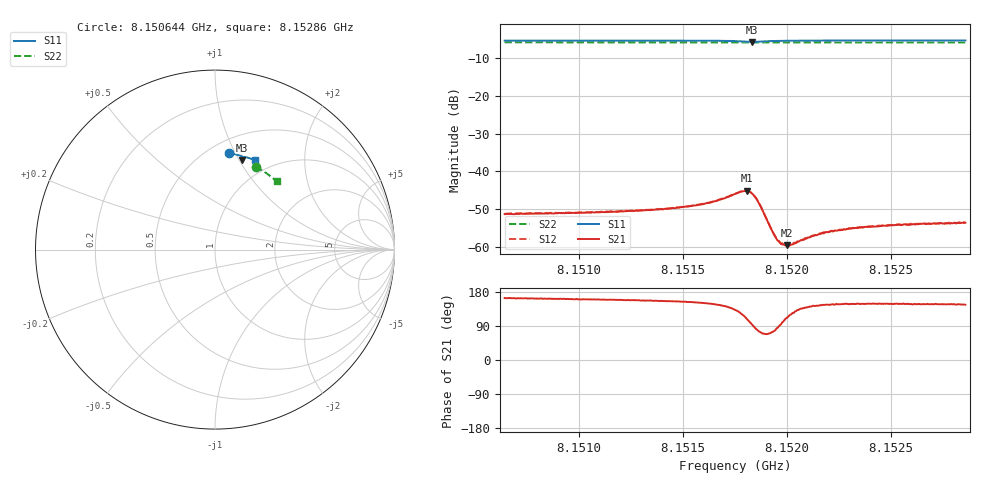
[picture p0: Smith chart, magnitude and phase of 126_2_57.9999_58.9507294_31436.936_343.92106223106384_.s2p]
#  HZ  S  RI  R  50.00
! Rohde & Schwarz Vector Network Analyzer
! Rohde-Schwarz,ZNB20-2Port,1311601062101988,3.16
! Created: UTC 3/21/2024, 12:55:55 AM
! freq[Hz]  re:S11  im:S11  re:S21  im:S21  re:S12  im:S12  re:S22  im:S22
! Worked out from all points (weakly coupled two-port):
!   401 points, 8.150644 GHz to 8.15286 GHz, reference 50 ohm
!   highest |S21| = -45.13 dB at 8.151807 GHz (marker M1); lowest = -59.6 dB at 8.152001 GHz (marker M2)
!   lowest |S11| = -5.6 dB at 8.151835 GHz (marker M3), VSWR 3.18, Z = 37.6 + j51.6 ohm
!   |S11| at or under -10 dB: nowhere
!   |S22| runs from -5.8 to -5.8 dB; largest |S21 - S12| = 0.00013
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8.1506441e9  0.0776 0.5364  -0.00261 0.000768  -0.00264 0.000803  0.2274 0.4618
8.1510152e9  0.1039 0.5324  -0.00267 0.000981  -0.00267 0.00103  0.2483 0.4503
8.1513864e9  0.1306 0.5268  -0.00287 0.00129  -0.0029 0.00135  0.2688 0.4378
8.1515914e9  0.1466 0.5219  -0.0032 0.0018  -0.00319 0.00183  0.2797 0.4305
8.1516634e9  0.1529 0.5186  -0.0034 0.00228  -0.0034 0.00233  0.2837 0.4279
8.1517521e9  0.1602 0.5103  -0.00341 0.00372  -0.00335 0.0038  0.2882 0.4242
8.1517853e9  0.1606 0.5046  -0.00279 0.00467  -0.00272 0.00476  0.2897 0.4229
8.1518075e9  0.158 0.5008  -0.00188 0.00521  -0.00183 0.00527  0.2907 0.4221
8.1518352e9  0.1521 0.4993  -0.00024 0.00507  -0.000154 0.00513  0.292 0.421
8.1518518e9  0.1488 0.5012  0.000559 0.00446  0.000627 0.00445  0.2927 0.4205
8.1518684e9  0.1472 0.5044  0.000975 0.00363  0.001 0.00366  0.2935 0.4202
8.1519238e9  0.1508 0.5131  0.000573 0.00171  0.00058 0.00168  0.2967 0.4185
8.151946e9  0.1534 0.5147  0.000276 0.00135  0.000282 0.00134  0.2977 0.4176
8.1519681e9  0.1561 0.5156  -3.92e-05 0.00114  -3.69e-05 0.00115  0.2988 0.4167
8.1519847e9  0.158 0.5158  -0.000221 0.00106  -0.000205 0.00103  0.2998 0.416
8.1520014e9  0.1598 0.5162  -0.000382 0.000973  -0.000352 0.000989  0.3007 0.4154
8.1520291e9  0.1627 0.516  -0.000609 0.000892  -0.00058 0.000932  0.3021 0.4145
8.1521232e9  0.1712 0.5151  -0.0011 0.000852  -0.00108 0.000903  0.3069 0.4107
8.1522063e9  0.1779 0.5135  -0.0013 0.000904  -0.00132 0.00091  0.3113 0.4075
8.1523116e9  0.1857 0.5112  -0.00147 0.00094  -0.00149 0.000949  0.3166 0.4031
8.1524944e9  0.1984 0.5069  -0.00164 0.00103  -0.00164 0.00103  0.3255 0.3957
8.1528601e9  0.2229 0.4976  -0.00173 0.00118  -0.00175 0.00119  0.3429 0.38
